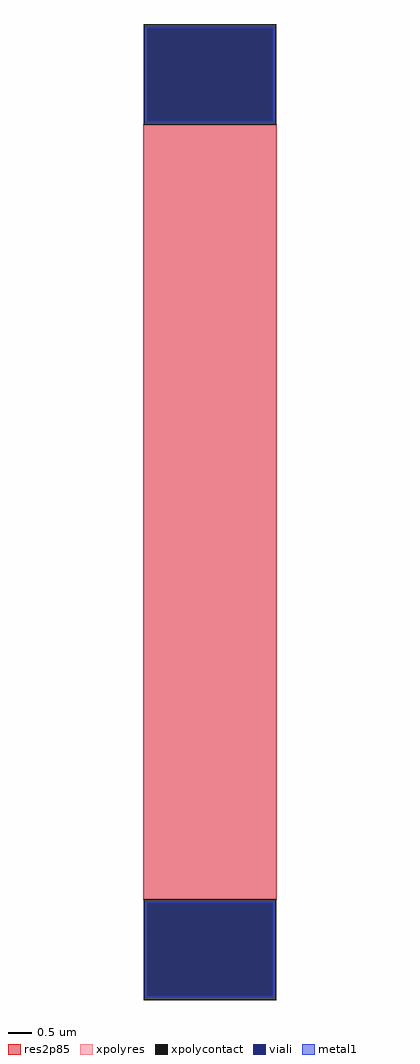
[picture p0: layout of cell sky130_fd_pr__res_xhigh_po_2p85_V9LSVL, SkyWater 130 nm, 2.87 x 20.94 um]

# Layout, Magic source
magic
tech sky130A
magscale 1 2
<< xpolycontact >>
rect -285 1662 285 2094
rect -285 -2094 285 -1662
<< xpolyres >>
rect -285 -1662 285 1662
<< viali >>
rect -269 1679 269 2076
rect -269 -2076 269 -1679
<< metal1 >>
rect -281 2076 281 2082
rect -281 1679 -269 2076
rect 269 1679 281 2076
rect -281 1673 281 1679
rect -281 -1679 281 -1673
rect -281 -2076 -269 -1679
rect 269 -2076 281 -1679
rect -281 -2082 281 -2076
<< res2p85 >>
rect -287 -1664 287 1664
<< properties >>
string gencell sky130_fd_pr__res_xhigh_po_2p85
string parameters w 2.850 l 16.62 m 1 nx 1 wmin 2.850 lmin 0.50 rho 2000 val 11.676k dummy 0 dw 0.0 term 19.188 sterm 0.0 caplen 0 wmax 2.850 guard 0 glc 1 grc 1 gtc 1 gbc 1 compatible {sky130_fd_pr__res_xhigh_po_0p35  sky130_fd_pr__res_xhigh_po_0p69 sky130_fd_pr__res_xhigh_po_1p41  sky130_fd_pr__res_xhigh_po_2p85 sky130_fd_pr__res_xhigh_po_5p73} full_metal 1 n_guard 0 hv_guard 0 vias 1 viagb 0 viagt 0 viagl 0 viagr 0
string library sky130
<< end >>
